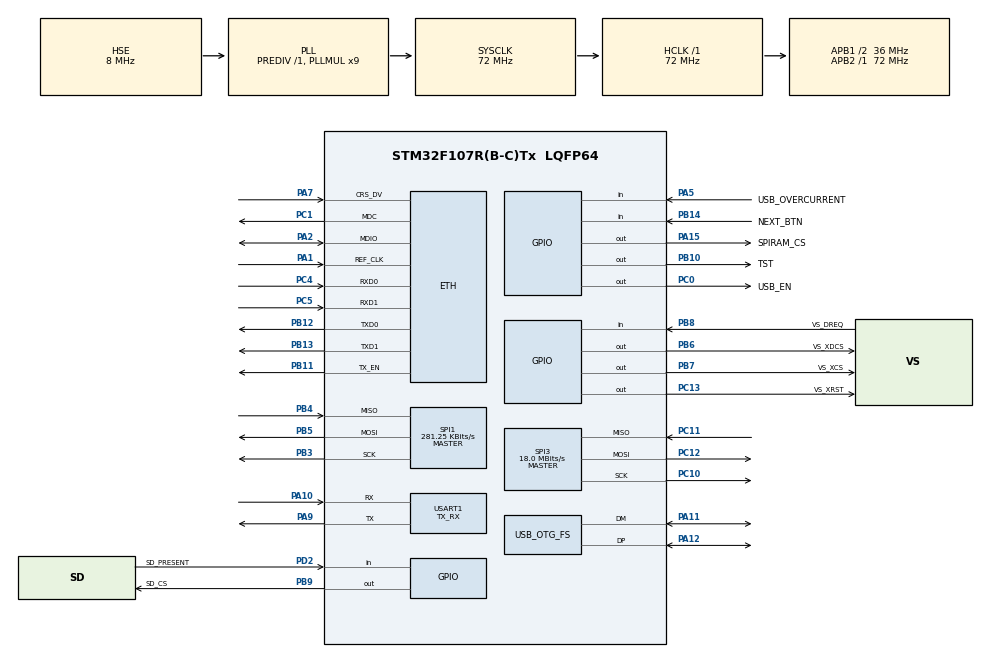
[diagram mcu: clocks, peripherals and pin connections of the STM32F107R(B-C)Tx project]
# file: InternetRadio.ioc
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ETH.AutoNegotiation=ETH_AUTONEGOTIATION_ENABLE
ETH.MACAddr=00\:80\:E1\:05\:16\:57
ETH.MediaInterface=ETH_MEDIA_INTERFACE_RMII
ETH.PHY_Name_RMII=DP83848_PHY_ADDRESS
ETH.Speed=ETH_SPEED_100M
FATFS._CODE_PAGE=852
FATFS._FS_LOCK=0
FATFS._MAX_SS=512
FATFS._USE_LFN=3
FATFS._USE_MKFS=0
FREERTOS.HEAP_NUMBER=4
FREERTOS.Queues01=vsQueue,16,uint8_t,0,Dynamic,NULL,NULL
FREERTOS.Tasks01=mainTask,0,512,StartMainTask,Default,NULL,Dynamic,NULL,NULL;ioTask,-3,256,StartIoTask,Default,NULL,Dynamic,NULL,NULL
FREERTOS.configLIBRARY_MAX_SYSCALL_INTERRUPT_PRIORITY=5
FREERTOS.configMINIMAL_STACK_SIZE=256
FREERTOS.configTOTAL_HEAP_SIZE=14848
FREERTOS.configUSE_NEWLIB_REENTRANT=1
LWIP.CMSIS_VERSION-Enabled=1
LWIP.LWIP_DNS=1
LWIP.LWIP_SNTP=1
LWIP.MEMP_NUM_PBUF=10
LWIP.MEMP_NUM_TCP_PCB=3
LWIP.MEMP_NUM_TCP_PCB_LISTEN=2
LWIP.MEMP_NUM_TCP_SEG=9
LWIP.PBUF_POOL_SIZE=11
LWIP.RTOS_USE_NEWLIB_REENTRANT=1
LWIP.SNTP_SERVER_DNS=1
LWIP.TCPIP_THREAD_STACKSIZE=1200
LWIP.Version=v2.0.3_Cube
Mcu.Family=STM32F1
Mcu.Name=STM32F107R(B-C)Tx
Mcu.Package=LQFP64
NVIC.ETH_IRQn=true\:5\:0\:false\:false\:true\:true\:false\:true\:true
NVIC.OTG_FS_IRQn=true\:5\:0\:false\:false\:true\:true\:false\:true\:true
NVIC.PriorityGroup=NVIC_PRIORITYGROUP_4
NVIC.TIM1_UP_IRQn=true\:15\:0\:false\:false\:true\:false\:false\:true\:true
NVIC.TimeBase=TIM1_UP_IRQn
NVIC.TimeBaseIP=TIM1
PA1.Mode=RMII
PA1.Signal=ETH_REF_CLK
PA10.Mode=Asynchronous
PA10.Signal=USART1_RX
PA11.Mode=Host_Only
PA11.Signal=USB_OTG_FS_DM
PA12.Mode=Host_Only
PA12.Signal=USB_OTG_FS_DP
PA13.Mode=Serial_Wire
PA13.Signal=SYS_JTMS-SWDIO
PA14.Mode=Serial_Wire
PA14.Signal=SYS_JTCK-SWCLK
PA15.GPIO_Label=SPIRAM_CS
PA15.GPIO_PuPd=GPIO_PULLUP
PA15.GPIO_Speed=GPIO_SPEED_FREQ_HIGH
PA15.PinState=GPIO_PIN_SET
PA15.Signal=GPIO_Output
PA2.Mode=RMII
PA2.Signal=ETH_MDIO
PA5.GPIO_Label=USB_OVERCURRENT
PA5.Signal=GPIO_Input
PA7.Mode=RMII
PA7.Signal=ETH_CRS_DV
PA9.Mode=Asynchronous
PA9.Signal=USART1_TX
PB10.GPIO_Label=TST
PB10.Signal=GPIO_Output
PB11.Mode=RMII
PB11.Signal=ETH_TX_EN
PB12.Mode=RMII
PB12.Signal=ETH_TXD0
PB13.Mode=RMII
PB13.Signal=ETH_TXD1
PB14.GPIO_Label=NEXT_BTN
PB14.GPIO_PuPd=GPIO_PULLUP
PB14.Signal=GPIO_Input
PB3.Mode=Full_Duplex_Master
PB3.Signal=SPI1_SCK
PB4.GPIO_PuPd=GPIO_PULLUP
PB4.Mode=Full_Duplex_Master
PB4.Signal=SPI1_MISO
PB5.Mode=Full_Duplex_Master
PB5.Signal=SPI1_MOSI
PB6.GPIO_Label=VS_XDCS
PB6.Signal=GPIO_Output
PB7.GPIO_Label=VS_XCS
PB7.Signal=GPIO_Output
PB8.GPIO_Label=VS_DREQ
PB8.Signal=GPIO_Input
PB9.GPIO_Label=SD_CS
PB9.GPIO_PuPd=GPIO_PULLUP
PB9.GPIO_Speed=GPIO_SPEED_FREQ_HIGH
PB9.PinState=GPIO_PIN_SET
PB9.Signal=GPIO_Output
PC0.GPIO_Label=USB_EN
PC0.Signal=GPIO_Output
PC1.Mode=RMII
PC1.Signal=ETH_MDC
PC10.Mode=Full_Duplex_Master
PC10.Signal=SPI3_SCK
PC11.GPIO_PuPd=GPIO_PULLUP
PC11.Mode=Full_Duplex_Master
PC11.Signal=SPI3_MISO
PC12.Mode=Full_Duplex_Master
PC12.Signal=SPI3_MOSI
PC13-TAMPER-RTC.GPIO_Label=VS_XRST
PC13-TAMPER-RTC.Signal=GPIO_Output
PC4.Mode=RMII
PC4.Signal=ETH_RXD0
PC5.Mode=RMII
PC5.Signal=ETH_RXD1
PD0-OSC_IN.Mode=HSE-External-Oscillator
PD0-OSC_IN.Signal=RCC_OSC_IN
PD1-OSC_OUT.Mode=HSE-External-Oscillator
PD1-OSC_OUT.Signal=RCC_OSC_OUT
PD2.GPIO_Label=SD_PRESENT
PD2.Signal=GPIO_Input
ProjectManager.HeapSize=0x400
ProjectManager.StackSize=0x400
ProjectManager.TargetToolchain=STM32CubeIDE
RCC.AHBFreq_Value=72000000
RCC.APB1CLKDivider=RCC_HCLK_DIV2
RCC.APB1Freq_Value=36000000
RCC.APB1TimFreq_Value=72000000
RCC.APB2Freq_Value=72000000
RCC.APB2TimFreq_Value=72000000
RCC.HCLKFreq_Value=72000000
RCC.LockedElements=AHBOutput
RCC.PLLMUL=RCC_PLL_MUL9
RCC.PLLSourceVirtual=RCC_PLLSOURCE_HSE
RCC.RTCClockSelection=RCC_RTCCLKSOURCE_HSE_DIV128
RCC.SYSCLKFreq_VALUE=72000000
RCC.SYSCLKSource=RCC_SYSCLKSOURCE_PLLCLK
RCC.USBFreq_Value=48000000
RTC.AutoPrediv=RTC_AUTO_1_SECOND
RTC.Format=RTC_FORMAT_BIN
SPI1.BaudRatePrescaler=SPI_BAUDRATEPRESCALER_256
SPI1.CLKPhase=SPI_PHASE_1EDGE
SPI1.CLKPolarity=SPI_POLARITY_LOW
SPI1.CRCCalculation=SPI_CRCCALCULATION_DISABLE
SPI1.CalculateBaudRate=281.25 KBits/s
SPI1.Direction=SPI_DIRECTION_2LINES
SPI1.Mode=SPI_MODE_MASTER
SPI1.VirtualType=VM_MASTER
SPI3.BaudRatePrescaler=SPI_BAUDRATEPRESCALER_2
SPI3.CalculateBaudRate=18.0 MBits/s
SPI3.Direction=SPI_DIRECTION_2LINES
SPI3.Mode=SPI_MODE_MASTER
SPI3.VirtualType=VM_MASTER
TIM4.Period=0xffff-1
TIM4.Prescaler=72-1
USART1.Mode=MODE_TX_RX
USART1.VirtualMode=VM_ASYNC
USB_HOST.BSP.number=1
USB_HOST.USBH_DEBUG_LEVEL=3
USB_HOST.USBH_HandleTypeDef=hUsbHostFS
USB_HOST.USBH_USE_OS-MSC_FS=0
USB_HOST.VirtualModeFS=Msc
USB_HOST0.BSP.STBoard=false
USB_HOST0.BSP.api=Unknown
USB_HOST0.BSP.instance=PC0
USB_HOST0.BSP.ip=GPIO
USB_HOST0.BSP.mode=Output
USB_HOST0.BSP.name=Drive_VBUS_FS
USB_HOST0.BSP.solution=PC0
USB_OTG_FS.VirtualMode=Host_Only
VP_CRC_VS_CRC.Mode=CRC_Activate
VP_FATFS_VS_Generic.Mode=User_defined
VP_FATFS_VS_USB.Mode=USB
VP_FREERTOS_VS_CMSIS_V1.Mode=CMSIS_V1
VP_LWIP_VS_Enabled.Mode=Enabled
VP_RTC_No_RTC_Output.Mode=RTC_OUT_NO
VP_RTC_VS_RTC_Activate.Mode=RTC_Enabled
VP_RTC_VS_RTC_Calendar.Mode=RTC_Calendar
VP_SYS_VS_tim1.Mode=TIM1
VP_TIM4_VS_ClockSourceINT.Mode=Internal
VP_USB_HOST_VS_USB_HOST_MSC_FS.Mode=MSC_FS
board=custom

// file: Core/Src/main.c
/* USER CODE BEGIN Header */
/**
  ******************************************************************************
  * @file           : main.c
  * @brief          : Main program body
  ******************************************************************************
  * @attention
  *
  * <h2><center>&copy; Copyright (c) 2021 STMicroelectronics.
  * All rights reserved.</center></h2>
  *
  * This software component is licensed by ST under Ultimate Liberty license
  * SLA0044, the "License"; You may not use this file except in compliance with
  * the License. You may obtain a copy of the License at:
  *                             www.st.com/SLA0044
  *
  ******************************************************************************
  */
/* USER CODE END Header */
#include "main.h"
#include "cmsis_os.h"
#include "fatfs.h"
#include "lwip.h"
#include "usb_host.h"

/* USER CODE BEGIN Includes */
#include <stdio.h>
#include <stdint.h>
#include <errno.h>
#include <time.h>
#include <sys/unistd.h> // STDOUT_FILENO, STDERR_FILENO
#include "tm.h"
#include "common.h"
#include "vs1003.h"
#include "user_diskio.h"
#include "sd.h"
#include "spiram.h"
#include "buttons.h"
#include "lwip/apps/lwiperf.h"
#include "lwip/apps/sntp.h"
/* USER CODE END Includes */

CRC_HandleTypeDef hcrc;

RTC_HandleTypeDef hrtc;

SPI_HandleTypeDef hspi1;
SPI_HandleTypeDef hspi3;

TIM_HandleTypeDef htim4;

UART_HandleTypeDef huart1;

osThreadId mainTaskHandle;
osThreadId ioTaskHandle;
osMessageQId vsQueueHandle;
/* USER CODE BEGIN PV */
FATFS FatFS;
/* USER CODE END PV */

void SystemClock_Config(void);
static void MX_GPIO_Init(void);
static void MX_USART1_UART_Init(void);
static void MX_SPI3_Init(void);
static void MX_RTC_Init(void);
static void MX_SPI1_Init(void);
static void MX_TIM4_Init(void);
static void MX_CRC_Init(void);
void StartMainTask(void const * argument);
void StartIoTask(void const * argument);

/* USER CODE BEGIN PFP */
void usb_write (void);
void set_rtc_with_ntp_timstamp(uint32_t sec);
void next_callback(void);
/* USER CODE END PFP */

int main(void)
{

  /* USER CODE BEGIN 1 */
  //uint8_t buffer[64];
  /* USER CODE END 1 */

  /* MCU Configuration--------------------------------------------------------*/

  /* Reset of all peripherals, Initializes the Flash interface and the Systick. */
  HAL_Init();

  /* Configure the system clock */
  SystemClock_Config();

  /* Initialize all configured peripherals */
  MX_GPIO_Init();
  MX_USART1_UART_Init();
  MX_FATFS_Init();
  MX_SPI3_Init();
  MX_RTC_Init();
  MX_SPI1_Init();
  MX_TIM4_Init();
  MX_CRC_Init();
  /* USER CODE BEGIN 2 */
  HAL_TIM_Base_Start(&htim4);									//Required for delay_us
  /* USER CODE END 2 */

  /* Create the queue(s) */
  /* definition and creation of vsQueue */
  osMessageQDef(vsQueue, 16, uint8_t);
  vsQueueHandle = osMessageCreate(osMessageQ(vsQueue), NULL);

  /* Create the thread(s) */
  /* definition and creation of mainTask */
  osThreadDef(mainTask, StartMainTask, osPriorityNormal, 0, 512);
  mainTaskHandle = osThreadCreate(osThread(mainTask), NULL);

  /* definition and creation of ioTask */
  osThreadDef(ioTask, StartIoTask, osPriorityIdle, 0, 256);
  ioTaskHandle = osThreadCreate(osThread(ioTask), NULL);

  /* Start scheduler */
  osKernelStart();

  /* We should never get here as control is now taken by the scheduler */

  /* Infinite loop */
  while (1)
  {

  }
}

void SystemClock_Config(void)
{
  RCC_OscInitTypeDef RCC_OscInitStruct = {0};
  RCC_ClkInitTypeDef RCC_ClkInitStruct = {0};
  RCC_PeriphCLKInitTypeDef PeriphClkInit = {0};

  /** Initializes the RCC Oscillators according to the specified parameters
  * in the RCC_OscInitTypeDef structure.
  */
  RCC_OscInitStruct.OscillatorType = RCC_OSCILLATORTYPE_HSE;
  RCC_OscInitStruct.HSEState = RCC_HSE_ON;
  RCC_OscInitStruct.HSEPredivValue = RCC_HSE_PREDIV_DIV1;
  RCC_OscInitStruct.HSIState = RCC_HSI_ON;
  RCC_OscInitStruct.Prediv1Source = RCC_PREDIV1_SOURCE_HSE;
  RCC_OscInitStruct.PLL.PLLState = RCC_PLL_ON;
  RCC_OscInitStruct.PLL.PLLSource = RCC_PLLSOURCE_HSE;
  RCC_OscInitStruct.PLL.PLLMUL = RCC_PLL_MUL9;
  RCC_OscInitStruct.PLL2.PLL2State = RCC_PLL_NONE;
  if (HAL_RCC_OscConfig(&RCC_OscInitStruct) != HAL_OK)
  {
    Error_Handler();
  }

  /** Initializes the CPU, AHB and APB buses clocks
  */
  RCC_ClkInitStruct.ClockType = RCC_CLOCKTYPE_HCLK|RCC_CLOCKTYPE_SYSCLK
                              |RCC_CLOCKTYPE_PCLK1|RCC_CLOCKTYPE_PCLK2;
  RCC_ClkInitStruct.SYSCLKSource = RCC_SYSCLKSOURCE_PLLCLK;
  RCC_ClkInitStruct.AHBCLKDivider = RCC_SYSCLK_DIV1;
  RCC_ClkInitStruct.APB1CLKDivider = RCC_HCLK_DIV2;
  RCC_ClkInitStruct.APB2CLKDivider = RCC_HCLK_DIV1;

  if (HAL_RCC_ClockConfig(&RCC_ClkInitStruct, FLASH_LATENCY_2) != HAL_OK)
  {
    Error_Handler();
  }
  PeriphClkInit.PeriphClockSelection = RCC_PERIPHCLK_RTC|RCC_PERIPHCLK_USB;
  PeriphClkInit.RTCClockSelection = RCC_RTCCLKSOURCE_HSE_DIV128;
  PeriphClkInit.UsbClockSelection = RCC_USBCLKSOURCE_PLL_DIV3;
  if (HAL_RCCEx_PeriphCLKConfig(&PeriphClkInit) != HAL_OK)
  {
    Error_Handler();
  }

  /** Configure the Systick interrupt time
  */
  __HAL_RCC_PLLI2S_ENABLE();
}

static void MX_CRC_Init(void)
{

  hcrc.Instance = CRC;
  if (HAL_CRC_Init(&hcrc) != HAL_OK)
  {
    Error_Handler();
  }

}

static void MX_RTC_Init(void)
{

  RTC_TimeTypeDef sTime = {0};
  RTC_DateTypeDef DateToUpdate = {0};

  /** Initialize RTC Only
  */
  hrtc.Instance = RTC;
  hrtc.Init.AsynchPrediv = RTC_AUTO_1_SECOND;
  hrtc.Init.OutPut = RTC_OUTPUTSOURCE_NONE;
  if (HAL_RTC_Init(&hrtc) != HAL_OK)
  {
    Error_Handler();
  }

  /** Initialize RTC and set the Time and Date
  */
  sTime.Hours = 0;
  sTime.Minutes = 0;
  sTime.Seconds = 0;

  if (HAL_RTC_SetTime(&hrtc, &sTime, RTC_FORMAT_BIN) != HAL_OK)
  {
    Error_Handler();
  }
  DateToUpdate.WeekDay = RTC_WEEKDAY_MONDAY;
  DateToUpdate.Month = RTC_MONTH_JANUARY;
  DateToUpdate.Date = 1;
  DateToUpdate.Year = 0;

  if (HAL_RTC_SetDate(&hrtc, &DateToUpdate, RTC_FORMAT_BIN) != HAL_OK)
  {
    Error_Handler();
  }

}

static void MX_SPI1_Init(void)
{

  /* SPI1 parameter configuration*/
  hspi1.Instance = SPI1;
  hspi1.Init.Mode = SPI_MODE_MASTER;
  hspi1.Init.Direction = SPI_DIRECTION_2LINES;
  hspi1.Init.DataSize = SPI_DATASIZE_8BIT;
  hspi1.Init.CLKPolarity = SPI_POLARITY_LOW;
  hspi1.Init.CLKPhase = SPI_PHASE_1EDGE;
  hspi1.Init.NSS = SPI_NSS_SOFT;
  hspi1.Init.BaudRatePrescaler = SPI_BAUDRATEPRESCALER_256;
  hspi1.Init.FirstBit = SPI_FIRSTBIT_MSB;
  hspi1.Init.TIMode = SPI_TIMODE_DISABLE;
  hspi1.Init.CRCCalculation = SPI_CRCCALCULATION_DISABLE;
  hspi1.Init.CRCPolynomial = 10;
  if (HAL_SPI_Init(&hspi1) != HAL_OK)
  {
    Error_Handler();
  }

}

static void MX_SPI3_Init(void)
{

  /* SPI3 parameter configuration*/
  hspi3.Instance = SPI3;
  hspi3.Init.Mode = SPI_MODE_MASTER;
  hspi3.Init.Direction = SPI_DIRECTION_2LINES;
  hspi3.Init.DataSize = SPI_DATASIZE_8BIT;
  hspi3.Init.CLKPolarity = SPI_POLARITY_LOW;
  hspi3.Init.CLKPhase = SPI_PHASE_1EDGE;
  hspi3.Init.NSS = SPI_NSS_SOFT;
  hspi3.Init.BaudRatePrescaler = SPI_BAUDRATEPRESCALER_2;
  hspi3.Init.FirstBit = SPI_FIRSTBIT_MSB;
  hspi3.Init.TIMode = SPI_TIMODE_DISABLE;
  hspi3.Init.CRCCalculation = SPI_CRCCALCULATION_DISABLE;
  hspi3.Init.CRCPolynomial = 10;
  if (HAL_SPI_Init(&hspi3) != HAL_OK)
  {
    Error_Handler();
  }

}

static void MX_TIM4_Init(void)
{

  TIM_ClockConfigTypeDef sClockSourceConfig = {0};
  TIM_MasterConfigTypeDef sMasterConfig = {0};

  htim4.Instance = TIM4;
  htim4.Init.Prescaler = 72-1;
  htim4.Init.CounterMode = TIM_COUNTERMODE_UP;
  htim4.Init.Period = 0xffff-1;
  htim4.Init.ClockDivision = TIM_CLOCKDIVISION_DIV1;
  htim4.Init.AutoReloadPreload = TIM_AUTORELOAD_PRELOAD_DISABLE;
  if (HAL_TIM_Base_Init(&htim4) != HAL_OK)
  {
    Error_Handler();
  }
  sClockSourceConfig.ClockSource = TIM_CLOCKSOURCE_INTERNAL;
  if (HAL_TIM_ConfigClockSource(&htim4, &sClockSourceConfig) != HAL_OK)
  {
    Error_Handler();
  }
  sMasterConfig.MasterOutputTrigger = TIM_TRGO_RESET;
  sMasterConfig.MasterSlaveMode = TIM_MASTERSLAVEMODE_DISABLE;
  if (HAL_TIMEx_MasterConfigSynchronization(&htim4, &sMasterConfig) != HAL_OK)
  {
    Error_Handler();
  }

}

static void MX_USART1_UART_Init(void)
{

  huart1.Instance = USART1;
  huart1.Init.BaudRate = 115200;
  huart1.Init.WordLength = UART_WORDLENGTH_8B;
  huart1.Init.StopBits = UART_STOPBITS_1;
  huart1.Init.Parity = UART_PARITY_NONE;
  huart1.Init.Mode = UART_MODE_TX_RX;
  huart1.Init.HwFlowCtl = UART_HWCONTROL_NONE;
  huart1.Init.OverSampling = UART_OVERSAMPLING_16;
  if (HAL_UART_Init(&huart1) != HAL_OK)
  {
    Error_Handler();
  }

}

static void MX_GPIO_Init(void)
{
  GPIO_InitTypeDef GPIO_InitStruct = {0};

  /* GPIO Ports Clock Enable */
  __HAL_RCC_GPIOC_CLK_ENABLE();
  __HAL_RCC_GPIOD_CLK_ENABLE();
  __HAL_RCC_GPIOA_CLK_ENABLE();
  __HAL_RCC_GPIOB_CLK_ENABLE();

  /*Configure GPIO pin Output Level */
  HAL_GPIO_WritePin(GPIOC, VS_XRST_Pin|USB_EN_Pin, GPIO_PIN_RESET);

  /*Configure GPIO pin Output Level */
  HAL_GPIO_WritePin(GPIOB, TST_Pin|VS_XDCS_Pin|VS_XCS_Pin, GPIO_PIN_RESET);

  /*Configure GPIO pin Output Level */
  HAL_GPIO_WritePin(SPIRAM_CS_GPIO_Port, SPIRAM_CS_Pin, GPIO_PIN_SET);

  /*Configure GPIO pin Output Level */
  HAL_GPIO_WritePin(SD_CS_GPIO_Port, SD_CS_Pin, GPIO_PIN_SET);

  /*Configure GPIO pins : VS_XRST_Pin USB_EN_Pin */
  GPIO_InitStruct.Pin = VS_XRST_Pin|USB_EN_Pin;
  GPIO_InitStruct.Mode = GPIO_MODE_OUTPUT_PP;
  GPIO_InitStruct.Pull = GPIO_NOPULL;
  GPIO_InitStruct.Speed = GPIO_SPEED_FREQ_LOW;
  HAL_GPIO_Init(GPIOC, &GPIO_InitStruct);

  /*Configure GPIO pin : USB_OVERCURRENT_Pin */
  GPIO_InitStruct.Pin = USB_OVERCURRENT_Pin;
  GPIO_InitStruct.Mode = GPIO_MODE_INPUT;
  GPIO_InitStruct.Pull = GPIO_NOPULL;
  HAL_GPIO_Init(USB_OVERCURRENT_GPIO_Port, &GPIO_InitStruct);

  /*Configure GPIO pins : TST_Pin VS_XDCS_Pin VS_XCS_Pin */
  GPIO_InitStruct.Pin = TST_Pin|VS_XDCS_Pin|VS_XCS_Pin;
  GPIO_InitStruct.Mode = GPIO_MODE_OUTPUT_PP;
  GPIO_InitStruct.Pull = GPIO_NOPULL;
  GPIO_InitStruct.Speed = GPIO_SPEED_FREQ_LOW;
  HAL_GPIO_Init(GPIOB, &GPIO_InitStruct);

  /*Configure GPIO pin : NEXT_BTN_Pin */
  GPIO_InitStruct.Pin = NEXT_BTN_Pin;
  GPIO_InitStruct.Mode = GPIO_MODE_INPUT;
  GPIO_InitStruct.Pull = GPIO_PULLUP;
  HAL_GPIO_Init(NEXT_BTN_GPIO_Port, &GPIO_InitStruct);

  /*Configure GPIO pin : SPIRAM_CS_Pin */
  GPIO_InitStruct.Pin = SPIRAM_CS_Pin;
  GPIO_InitStruct.Mode = GPIO_MODE_OUTPUT_PP;
  GPIO_InitStruct.Pull = GPIO_PULLUP;
  GPIO_InitStruct.Speed = GPIO_SPEED_FREQ_HIGH;
  HAL_GPIO_Init(SPIRAM_CS_GPIO_Port, &GPIO_InitStruct);

  /*Configure GPIO pin : SD_PRESENT_Pin */
  GPIO_InitStruct.Pin = SD_PRESENT_Pin;
  GPIO_InitStruct.Mode = GPIO_MODE_INPUT;
  GPIO_InitStruct.Pull = GPIO_NOPULL;
  HAL_GPIO_Init(SD_PRESENT_GPIO_Port, &GPIO_InitStruct);

  /*Configure GPIO pin : VS_DREQ_Pin */
  GPIO_InitStruct.Pin = VS_DREQ_Pin;
  GPIO_InitStruct.Mode = GPIO_MODE_INPUT;
  GPIO_InitStruct.Pull = GPIO_NOPULL;
  HAL_GPIO_Init(VS_DREQ_GPIO_Port, &GPIO_InitStruct);

  /*Configure GPIO pin : SD_CS_Pin */
  GPIO_InitStruct.Pin = SD_CS_Pin;
  GPIO_InitStruct.Mode = GPIO_MODE_OUTPUT_PP;
  GPIO_InitStruct.Pull = GPIO_PULLUP;
  GPIO_InitStruct.Speed = GPIO_SPEED_FREQ_HIGH;
  HAL_GPIO_Init(SD_CS_GPIO_Port, &GPIO_InitStruct);

}

/* USER CODE BEGIN 4 */
int _write(int file, char *data, int len)
{
   if ((file != STDOUT_FILENO) && (file != STDERR_FILENO))
   {
      errno = EBADF;
      return -1;
   }

   HAL_StatusTypeDef status = HAL_UART_Transmit(&huart1, (uint8_t*)data, len, 1000);

   // return # of bytes written - as best we can tell
   return (status == HAL_OK ? len : 0);
}

void usb_write (void) {
    FRESULT res;
    FIL file;

    res = f_open(&file, "1:/test.txt", (FA_OPEN_ALWAYS | FA_WRITE));
    if (res != FR_OK) {
        printf("f_open error code: %i\r\n", res);
        return;
    }
    if (f_size(&file) == 0) {
        f_puts("To jest pierwsza linia\r\n", &file);
    }
    else {
        res = f_lseek(&file, f_size(&file));
        if (res != FR_OK) {
            printf("f_lseek error code: %i\r\n", res);
            f_close(&file);
            return;
        }
    }
    f_puts("To jest test.\n", &file);
    f_close(&file);
}

void set_rtc_with_ntp_timstamp(uint32_t sec) {
	RTC_TimeTypeDef sTime;
	RTC_DateTypeDef sDate;
	struct tm time_tm;
	time_t rawtime = sec;

	printf("NTP timestamp received: %lu\r\n", sec);
	gmtime_r(&rawtime, &time_tm);

	sTime.Hours = (uint8_t)time_tm.tm_hour;
	sTime.Minutes = (uint8_t)time_tm.tm_min;
	sTime.Seconds = (uint8_t)time_tm.tm_sec;
	if (HAL_RTC_SetTime(&hrtc, &sTime, RTC_FORMAT_BIN) != HAL_OK) {
		printf("Can't set time\r\n");
	}
	if (time_tm.tm_wday == 0) { time_tm.tm_wday = 7; }
	sDate.WeekDay = (uint8_t)time_tm.tm_wday;
	sDate.Month = (uint8_t)time_tm.tm_mon+1;
	sDate.Date = (uint8_t)time_tm.tm_mday;
	sDate.Year = (uint16_t)(time_tm.tm_year+1900-2000);
	if (HAL_RTC_SetDate(&hrtc, &sDate, RTC_FORMAT_BIN) != HAL_OK) {
		printf("Can't set date\r\n");
	}

}

void next_callback (void) {
	printf("Next button pressed\r\n");
	static uint8_t to_send = VS_MSG_NEXT;
	if (xQueueSend(vsQueueHandle, (void*)&to_send, portMAX_DELAY)) {
		printf("VS_MSG_NEXT sent to queque\r\n");
	}
}

/* USER CODE END 4 */

void StartMainTask(void const * argument)
{
  /* init code for LWIP */
  MX_LWIP_Init();

  /* init code for USB_HOST */
  MX_USB_HOST_Init();
  /* USER CODE BEGIN 5 */
  static FRESULT res;
  uint8_t queque_rcv;

  printf("Starting default task\r\n");

  HAL_GPIO_WritePin(SPIRAM_CS_GPIO_Port, SPIRAM_CS_Pin, 1);
  HAL_GPIO_WritePin(SD_CS_GPIO_Port, SD_CS_Pin, 1);
  HAL_GPIO_WritePin(VS_XRST_GPIO_Port, VS_XRST_Pin, 0);
  HAL_GPIO_WritePin(VS_XCS_GPIO_Port, VS_XCS_Pin, 1);
  HAL_GPIO_WritePin(VS_XDCS_GPIO_Port, VS_XDCS_Pin, 1);
  HAL_GPIO_WritePin(TST_GPIO_Port, TST_Pin, 1);
  HAL_GPIO_WritePin(USB_EN_GPIO_Port, USB_EN_Pin, 1);

  res = f_mount(&FatFS, "0:", 0);
  if (res != FR_OK) {printf("f_mount error code: %i\r\n", res);}
  else {printf("f_mount OK\r\n");}

  spiram_init();
  spiram_clear();

  sntp_setoperatingmode(SNTP_OPMODE_POLL);
  sntp_setservername(0, "pool.ntp.org");
  sntp_init();

  VS1003_begin();
  VS1003_setVolume(0x00);
  VS1003_setLoop(TRUE);
//  VS1003_play_dir("0:/");
//  VS1003_play_next_http_stream_from_list();
  VS1003_play_http_stream("http://an01.cdn.eurozet.pl/ant-waw.mp3");
  /* Infinite loop */
  for(;;)
  {
	VS1003_handle();
	if (xQueueReceive(vsQueueHandle, &queque_rcv, 5) == pdTRUE) {
		printf("Received %d from queque\r\n", queque_rcv);
		switch(queque_rcv) {
			case VS_MSG_NEXT:
				VS1003_play_next();
				break;
			case VS_MSG_STOP:
				VS1003_stop();
				break;
			default:
				break;
		}
	}
	osDelay(1);
  }
  /* USER CODE END 5 */
}

void StartIoTask(void const * argument)
{
  /* USER CODE BEGIN StartIoTask */
  static button_t next_btn;
  RTC_TimeTypeDef RtcTime;
  RTC_DateTypeDef RtcDate;
  uint8_t compareSeconds = 0;

  printf("I/O task starting\r\n");
  button_init(&next_btn, NEXT_BTN_GPIO_Port, NEXT_BTN_Pin, next_callback, NULL);
  /* Infinite loop */
  for(;;)
  {
	button_handle(&next_btn);

	HAL_RTC_GetTime(&hrtc, &RtcTime, RTC_FORMAT_BIN);
	HAL_RTC_GetDate(&hrtc, &RtcDate, RTC_FORMAT_BIN);
	if(RtcTime.Seconds != compareSeconds) {
		printf("Date: %02d.%02d.20%02d Time: %02d:%02d:%02d\r\n", RtcDate.Date, RtcDate.Month, RtcDate.Year, RtcTime.Hours, RtcTime.Minutes, RtcTime.Seconds);
		compareSeconds = RtcTime.Seconds;
	}

    osDelay(20);
  }
  /* USER CODE END StartIoTask */
}

void HAL_TIM_PeriodElapsedCallback(TIM_HandleTypeDef *htim)
{
  if (htim->Instance == TIM1) {
    HAL_IncTick();
  }
}

void Error_Handler(void)
{
  __disable_irq();
  while (1)
  {
  }
}
